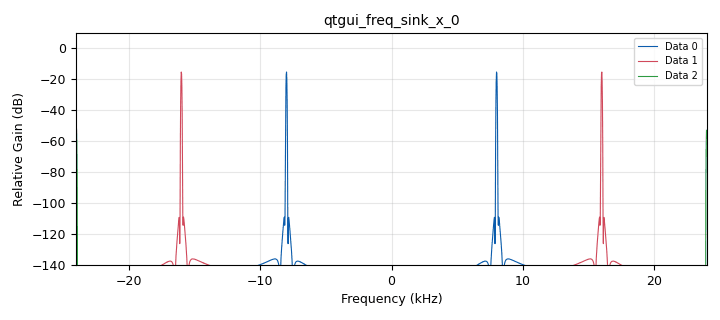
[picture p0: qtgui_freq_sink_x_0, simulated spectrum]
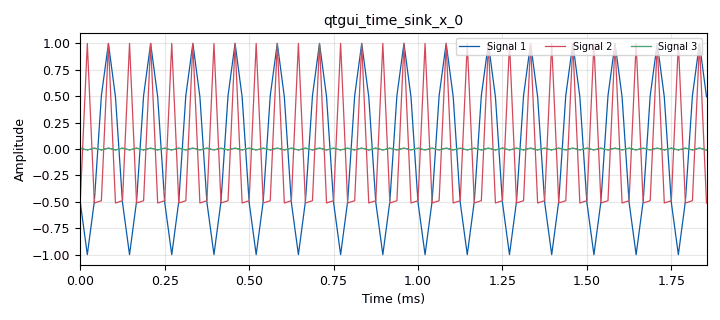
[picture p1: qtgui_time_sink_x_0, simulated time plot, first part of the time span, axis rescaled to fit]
options:
  parameters:
    author: Ashley_Amaya_Otto_Andrade_J1C_G3
    generate_options: qt_gui
    id: Lab2_punto5
    output_language: python
    title: Lab2_punto5
  states: {}

blocks:
- name: freq
  id: variable_qtgui_range
  parameters:
    label: frequency
    orient: Qt.Horizontal
    start: '1000'
    step: '1000'
    stop: '40000'
    value: '8000'
  states: {}
- name: samp_rate
  id: variable
  parameters:
    value: '48000'
  states: {}
- name: analog_sig_source_x_0
  id: analog_sig_source_x
  parameters:
    amp: '1'
    freq: freq
    offset: '0'
    phase: '0'
    samp_rate: samp_rate
    type: float
    waveform: analog.GR_COS_WAVE
  states: {}
- name: analog_sig_source_x_0_0
  id: analog_sig_source_x
  parameters:
    amp: '1'
    freq: freq
    offset: '0'
    phase: '0'
    samp_rate: samp_rate
    type: float
    waveform: analog.GR_COS_WAVE
  states: {}
- name: analog_sig_source_x_0_0_0
  id: analog_sig_source_x
  parameters:
    amp: '1'
    freq: freq
    offset: '0'
    phase: '0'
    samp_rate: samp_rate
    type: float
    waveform: analog.GR_COS_WAVE
  states: {}
- name: blocks_throttle_0
  id: blocks_throttle
  parameters:
    samples_per_second: samp_rate
    type: float
  states: {}
- name: qtgui_freq_sink_x_0
  id: qtgui_freq_sink_x
  parameters:
    bw: samp_rate
    fc: '0'
    fftsize: '2048'
    nconnections: '3'
    type: float
    wintype: firdes.WIN_BLACKMAN_hARRIS
  states: {}
- name: qtgui_time_sink_x_0
  id: qtgui_time_sink_x
  parameters:
    nconnections: '3'
    size: '1024'
    srate: samp_rate
    type: float
  states: {}
- name: rational_resampler_xxx_0
  id: rational_resampler_xxx
  parameters:
    decim: '1'
    interp: '1'
    taps: ''
    type: fff
  states: {}
- name: rational_resampler_xxx_0_0
  id: rational_resampler_xxx
  parameters:
    decim: '2'
    interp: '1'
    taps: ''
    type: fff
  states: {}
- name: rational_resampler_xxx_0_0_0
  id: rational_resampler_xxx
  parameters:
    decim: '3'
    interp: '1'
    taps: ''
    type: fff
  states: {}

connections:
- [analog_sig_source_x_0, '0', rational_resampler_xxx_0, '0']
- [analog_sig_source_x_0_0, '0', rational_resampler_xxx_0_0, '0']
- [analog_sig_source_x_0_0_0, '0', rational_resampler_xxx_0_0_0, '0']
- [blocks_throttle_0, '0', qtgui_freq_sink_x_0, '0']
- [blocks_throttle_0, '0', qtgui_time_sink_x_0, '0']
- [rational_resampler_xxx_0, '0', blocks_throttle_0, '0']
- [rational_resampler_xxx_0_0, '0', qtgui_freq_sink_x_0, '1']
- [rational_resampler_xxx_0_0, '0', qtgui_time_sink_x_0, '1']
- [rational_resampler_xxx_0_0_0, '0', qtgui_freq_sink_x_0, '2']
- [rational_resampler_xxx_0_0_0, '0', qtgui_time_sink_x_0, '2']

metadata:
  file_format: 1
